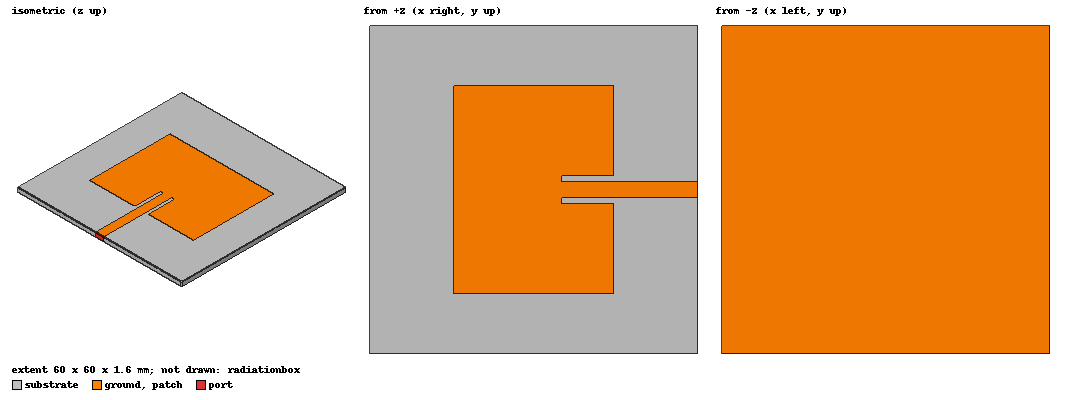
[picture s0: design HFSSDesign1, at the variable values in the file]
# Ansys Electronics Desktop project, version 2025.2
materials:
  vacuum: permittivity=1
  FR4_epoxy: permittivity=4.4 dielectric_loss_tangent=0.02
  air: permittivity=1.0006 permeability=1.0000004

design HFSSDesign1 (HFSS, HFSS Terminal Network, model units mm)
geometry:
  ground = rectangle(corner=(-30mm, -30mm, 0mm), x_size=60mm, y_size=60mm)
  substrate [FR4_epoxy] = box(corner=(-30mm, -30mm, 0mm), size=(60mm, 60mm, 1.6mm))
  patch = rectangle(corner=((-29.4/2) mm, (-38/2) mm, 1.6mm), x_size=29.4mm, y_size=38mm)
  feed = rectangle(corner=(0mm, -1.5mm, 1.6mm), x_size=30mm, y_size=3mm)
  cut = rectangle(corner=(14.7mm, -2.5mm, 1.6mm), x_size=-9.5mm, y_size=5mm)
  patch.subtract(cut)
  patch.unite(feed)
  port = rectangle(corner=(30mm, -1.5mm, 1.6mm), y_size=3mm, z_size=-1.6mm)
  radiationbox [air] = box(corner=(-40mm, -40mm, -20mm), size=(80mm, 80mm, 40mm))
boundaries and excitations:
  PerfE1: Perfect E Objects=patch
  PerfE2: Perfect E Objects=ground
  Rad1: Radiation Objects=radiationbox
  1: Lumped Port Objects=port LumpedPortType=Modal Modes{Mode1{IntLine{(30, 0, 0) -> (30, 0, 1.6)} CharImp=Zpi}} Impedance=50ohm
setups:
  Setup1: HfssDriven Frequency=2.4GHz MaxDeltaS=0.02 MaximumPasses=20 MinimumPasses=1 MinimumConvergedPasses=1 PercentRefinement=30 BasisOrder=1 PortAccuracy=2 DrivenSolverType="Direct Solver"
    sweep Sweep: 1GHz to 3GHz step 0.01GHz; Type=Fast SaveFields
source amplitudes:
  1:1: 1V 0deg
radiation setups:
  Infinite Sphere2: Infinite Sphere Theta=-180deg..180deg step 2deg Phi=0deg..360deg step 2deg
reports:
  S Parameter Plot1: dB(S(1,1)) vs Freq on Setup1 : Sweep; markers m1 at 2.38GHz, m2 at 2.36GHz, m3 at 2.4GHz
  VSWR Plot1: VSWR(1) vs Freq on Setup1 : Sweep; markers m1 at 2.38GHz
  Gain Plot1: dB(GainTotal) vs Phi, Theta on Setup1 : LastAdaptive, Infinite Sphere2 [Freq=2.4GHz]
  Gain Plot2: dB(GainTotal) vs Theta on Setup1 : LastAdaptive, Infinite Sphere2 [Phi=0deg,90deg Freq=2.4GHz]
